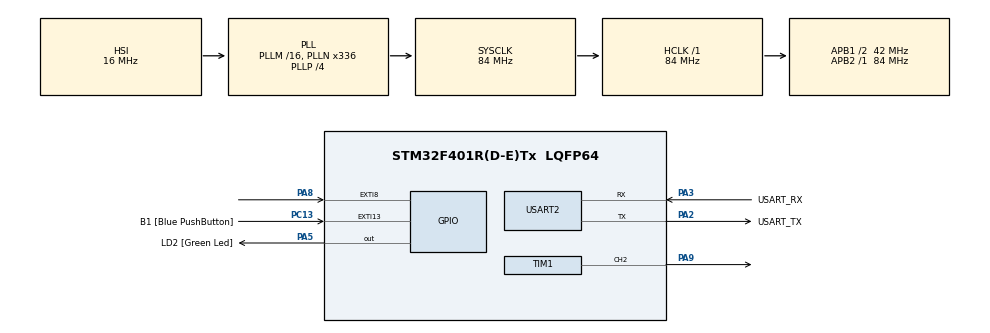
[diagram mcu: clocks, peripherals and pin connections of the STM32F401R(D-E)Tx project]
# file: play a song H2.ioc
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Mcu.Family=STM32F4
Mcu.Name=STM32F401R(D-E)Tx
Mcu.Package=LQFP64
NVIC.EXTI9_5_IRQn=true\:0\:0\:false\:false\:true\:true\:true\:true
NVIC.PriorityGroup=NVIC_PRIORITYGROUP_0
NVIC.TIM2_IRQn=true\:0\:0\:false\:false\:true\:true\:true\:true
PA13.GPIO_Label=TMS
PA13.Mode=Serial_Wire
PA13.Signal=SYS_JTMS-SWDIO
PA14.GPIO_Label=TCK
PA14.Mode=Serial_Wire
PA14.Signal=SYS_JTCK-SWCLK
PA2.GPIO_Label=USART_TX
PA2.GPIO_Mode=GPIO_MODE_AF_PP
PA2.GPIO_PuPd=GPIO_NOPULL
PA2.GPIO_Speed=GPIO_SPEED_FREQ_LOW
PA2.Mode=Asynchronous
PA2.Signal=USART2_TX
PA3.GPIO_Label=USART_RX
PA3.GPIO_Mode=GPIO_MODE_AF_PP
PA3.GPIO_PuPd=GPIO_NOPULL
PA3.GPIO_Speed=GPIO_SPEED_FREQ_LOW
PA3.Mode=Asynchronous
PA3.Signal=USART2_RX
PA5.GPIO_Label=LD2 [Green Led]
PA5.GPIO_Mode=GPIO_MODE_OUTPUT_PP
PA5.GPIO_PuPd=GPIO_NOPULL
PA5.GPIO_Speed=GPIO_SPEED_FREQ_LOW
PA5.Signal=GPIO_Output
PA8.Signal=GPXTI8
PA9.Signal=S_TIM1_CH2
PB3.GPIO_Label=SWO
PB3.Signal=SYS_JTDO-SWO
PC13-ANTI_TAMP.GPIO_Label=B1 [Blue PushButton]
PC13-ANTI_TAMP.GPIO_ModeDefaultEXTI=GPIO_MODE_IT_FALLING
PC13-ANTI_TAMP.GPIO_PuPd=GPIO_NOPULL
PC13-ANTI_TAMP.Signal=GPXTI13
PC14-OSC32_IN.Mode=LSE-External-Oscillator
PC14-OSC32_IN.Signal=RCC_OSC32_IN
PC15-OSC32_OUT.Mode=LSE-External-Oscillator
PC15-OSC32_OUT.Signal=RCC_OSC32_OUT
PH0\ -\ OSC_IN.Mode=HSE-External-Oscillator
PH0\ -\ OSC_IN.Signal=RCC_OSC_IN
PH1\ -\ OSC_OUT.Mode=HSE-External-Oscillator
PH1\ -\ OSC_OUT.Signal=RCC_OSC_OUT
ProjectManager.HeapSize=0x200
ProjectManager.StackSize=0x400
ProjectManager.TargetToolchain=STM32CubeIDE
RCC.48MHZClocksFreq_Value=48000000
RCC.AHBFreq_Value=84000000
RCC.APB1CLKDivider=RCC_HCLK_DIV2
RCC.APB1Freq_Value=42000000
RCC.APB1TimFreq_Value=84000000
RCC.APB2Freq_Value=84000000
RCC.APB2TimFreq_Value=84000000
RCC.CortexFreq_Value=84000000
RCC.HCLKFreq_Value=84000000
RCC.HSE_VALUE=8000000
RCC.HSI_VALUE=16000000
RCC.PLLN=336
RCC.PLLP=RCC_PLLP_DIV4
RCC.PLLQ=7
RCC.SYSCLKFreq_VALUE=84000000
RCC.SYSCLKSource=RCC_SYSCLKSOURCE_PLLCLK
RCC.VCOOutputFreq_Value=336000000
SH.S_TIM1_CH2.0=TIM1_CH2,PWM Generation2 CH2
TIM1.Channel-PWM\ Generation2\ CH2=TIM_CHANNEL_2
TIM1.Prescaler=99
TIM2.AutoReloadPreload=TIM_AUTORELOAD_PRELOAD_ENABLE
TIM2.Period=83999
TIM2.Prescaler=999
USART2.VirtualMode=VM_ASYNC
VP_TIM1_VS_ClockSourceINT.Mode=Internal
VP_TIM2_VS_ClockSourceINT.Mode=Internal
board=NUCLEO-F401RE

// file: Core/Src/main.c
/* USER CODE BEGIN Header */
/**
  ******************************************************************************
  * @file           : main.c
  * @brief          : Main program body
  ******************************************************************************
  * @attention
  *
  * Copyright (c) 2022 STMicroelectronics.
  * All rights reserved.
  *
  * This software is licensed under terms that can be found in the LICENSE file
  * in the root directory of this software component.
  * If no LICENSE file comes with this software, it is provided AS-IS.
  *
  ******************************************************************************
  */
/* USER CODE END Header */
#include "main.h"

TIM_HandleTypeDef htim1;
TIM_HandleTypeDef htim2;

UART_HandleTypeDef huart2;

/* USER CODE BEGIN PV */
struct Note{
	float period;
	float pulse;
};

const struct Note DO = {3206.10687, 1603.053435};
const struct Note DOd = {3032.490975, 1516.245487};
const struct Note RE = {2857.142857, 1428.571429};
const struct Note REd = {2700.96463, 1350.482315};
const struct Note MI = {2545.454545, 1272.727273};
const struct Note FA = {2406.876791, 1203.438395};
const struct Note FAd = {2270.27027, 1135.135135};
const struct Note SOL = {2142.857143, 1071.428571};
const struct Note SOLd = {2024.096386, 1012.048193};
const struct Note LA = {1909.090909, 954.5454545};
const struct Note LAd = {1802.575107, 901.2875536};
const struct Note SI = {1700.404858, 850.2024291};

//a SopngNote represents a single note, with it's height and duration
struct SongNote{
	struct Note height;
	int duration;
};

const int eight = 100;
const int up_eight = 90;
const int down_eight = 10;
/* USER CODE END PV */

void SystemClock_Config(void);
static void MX_GPIO_Init(void);
static void MX_USART2_UART_Init(void);
static void MX_TIM1_Init(void);
static void MX_TIM2_Init(void);

/* USER CODE BEGIN 0 */
void playNote(struct SongNote songNote){
	HAL_TIM_PWM_Stop(&htim1, TIM_CHANNEL_2);
	HAL_TIM_Base_Stop_IT(&htim2);
	//set the note
	__HAL_TIM_SET_AUTORELOAD(&htim1, songNote.height.period);
	__HAL_TIM_SET_COMPARE(&htim1, TIM_CHANNEL_2, songNote.height.pulse);
	//set how long to play the note
	__HAL_TIM_SET_AUTORELOAD(&htim2, songNote.duration*eight);
	//start the note
	HAL_TIM_PWM_Start(&htim1, TIM_CHANNEL_2);
	HAL_TIM_Base_Start_IT(&htim2);
	__HAL_TIM_CLEAR_IT(&htim2, TIM_IT_UPDATE);
}

void HAL_TIM_PeriodElapsedCallback(TIM_HandleTypeDef *htim){
	if (current_note < songLength){
		playNote(song[current_note]);
		current_note++;
	}else{
		HAL_TIM_PWM_Stop(&htim1, TIM_CHANNEL_2);
		HAL_TIM_Base_Stop_IT(&htim2);
		__HAL_TIM_CLEAR_IT(&htim2, TIM_IT_UPDATE);
		current_note = 0;
	}
};
/* USER CODE END 0 */

int main(void)
{

  /* MCU Configuration--------------------------------------------------------*/

  /* Reset of all peripherals, Initializes the Flash interface and the Systick. */
  HAL_Init();

  /* Configure the system clock */
  SystemClock_Config();

  /* Initialize all configured peripherals */
  MX_GPIO_Init();
  MX_USART2_UART_Init();
  MX_TIM1_Init();
  MX_TIM2_Init();
  /* USER CODE BEGIN 2 */
  HAL_TIM_Base_Start_IT(&htim2);
  /* USER CODE END 2 */

  /* Infinite loop */
  while (1)
  {

  }
}

void SystemClock_Config(void)
{
  RCC_OscInitTypeDef RCC_OscInitStruct = {0};
  RCC_ClkInitTypeDef RCC_ClkInitStruct = {0};

  /** Configure the main internal regulator output voltage
  */
  __HAL_RCC_PWR_CLK_ENABLE();
  __HAL_PWR_VOLTAGESCALING_CONFIG(PWR_REGULATOR_VOLTAGE_SCALE2);

  /** Initializes the RCC Oscillators according to the specified parameters
  * in the RCC_OscInitTypeDef structure.
  */
  RCC_OscInitStruct.OscillatorType = RCC_OSCILLATORTYPE_HSI;
  RCC_OscInitStruct.HSIState = RCC_HSI_ON;
  RCC_OscInitStruct.HSICalibrationValue = RCC_HSICALIBRATION_DEFAULT;
  RCC_OscInitStruct.PLL.PLLState = RCC_PLL_ON;
  RCC_OscInitStruct.PLL.PLLSource = RCC_PLLSOURCE_HSI;
  RCC_OscInitStruct.PLL.PLLM = 16;
  RCC_OscInitStruct.PLL.PLLN = 336;
  RCC_OscInitStruct.PLL.PLLP = RCC_PLLP_DIV4;
  RCC_OscInitStruct.PLL.PLLQ = 7;
  if (HAL_RCC_OscConfig(&RCC_OscInitStruct) != HAL_OK)
  {
    Error_Handler();
  }

  /** Initializes the CPU, AHB and APB buses clocks
  */
  RCC_ClkInitStruct.ClockType = RCC_CLOCKTYPE_HCLK|RCC_CLOCKTYPE_SYSCLK
                              |RCC_CLOCKTYPE_PCLK1|RCC_CLOCKTYPE_PCLK2;
  RCC_ClkInitStruct.SYSCLKSource = RCC_SYSCLKSOURCE_PLLCLK;
  RCC_ClkInitStruct.AHBCLKDivider = RCC_SYSCLK_DIV1;
  RCC_ClkInitStruct.APB1CLKDivider = RCC_HCLK_DIV2;
  RCC_ClkInitStruct.APB2CLKDivider = RCC_HCLK_DIV1;

  if (HAL_RCC_ClockConfig(&RCC_ClkInitStruct, FLASH_LATENCY_2) != HAL_OK)
  {
    Error_Handler();
  }
}

static void MX_TIM1_Init(void)
{

  TIM_ClockConfigTypeDef sClockSourceConfig = {0};
  TIM_MasterConfigTypeDef sMasterConfig = {0};
  TIM_OC_InitTypeDef sConfigOC = {0};
  TIM_BreakDeadTimeConfigTypeDef sBreakDeadTimeConfig = {0};

  htim1.Instance = TIM1;
  htim1.Init.Prescaler = 99;
  htim1.Init.CounterMode = TIM_COUNTERMODE_UP;
  htim1.Init.Period = 65535;
  htim1.Init.ClockDivision = TIM_CLOCKDIVISION_DIV1;
  htim1.Init.RepetitionCounter = 0;
  htim1.Init.AutoReloadPreload = TIM_AUTORELOAD_PRELOAD_DISABLE;
  if (HAL_TIM_Base_Init(&htim1) != HAL_OK)
  {
    Error_Handler();
  }
  sClockSourceConfig.ClockSource = TIM_CLOCKSOURCE_INTERNAL;
  if (HAL_TIM_ConfigClockSource(&htim1, &sClockSourceConfig) != HAL_OK)
  {
    Error_Handler();
  }
  if (HAL_TIM_PWM_Init(&htim1) != HAL_OK)
  {
    Error_Handler();
  }
  sMasterConfig.MasterOutputTrigger = TIM_TRGO_RESET;
  sMasterConfig.MasterSlaveMode = TIM_MASTERSLAVEMODE_DISABLE;
  if (HAL_TIMEx_MasterConfigSynchronization(&htim1, &sMasterConfig) != HAL_OK)
  {
    Error_Handler();
  }
  sConfigOC.OCMode = TIM_OCMODE_PWM1;
  sConfigOC.Pulse = 0;
  sConfigOC.OCPolarity = TIM_OCPOLARITY_HIGH;
  sConfigOC.OCNPolarity = TIM_OCNPOLARITY_HIGH;
  sConfigOC.OCFastMode = TIM_OCFAST_DISABLE;
  sConfigOC.OCIdleState = TIM_OCIDLESTATE_RESET;
  sConfigOC.OCNIdleState = TIM_OCNIDLESTATE_RESET;
  if (HAL_TIM_PWM_ConfigChannel(&htim1, &sConfigOC, TIM_CHANNEL_2) != HAL_OK)
  {
    Error_Handler();
  }
  sBreakDeadTimeConfig.OffStateRunMode = TIM_OSSR_DISABLE;
  sBreakDeadTimeConfig.OffStateIDLEMode = TIM_OSSI_DISABLE;
  sBreakDeadTimeConfig.LockLevel = TIM_LOCKLEVEL_OFF;
  sBreakDeadTimeConfig.DeadTime = 0;
  sBreakDeadTimeConfig.BreakState = TIM_BREAK_DISABLE;
  sBreakDeadTimeConfig.BreakPolarity = TIM_BREAKPOLARITY_HIGH;
  sBreakDeadTimeConfig.AutomaticOutput = TIM_AUTOMATICOUTPUT_DISABLE;
  if (HAL_TIMEx_ConfigBreakDeadTime(&htim1, &sBreakDeadTimeConfig) != HAL_OK)
  {
    Error_Handler();
  }
  HAL_TIM_MspPostInit(&htim1);

}

static void MX_TIM2_Init(void)
{

  TIM_ClockConfigTypeDef sClockSourceConfig = {0};
  TIM_MasterConfigTypeDef sMasterConfig = {0};

  htim2.Instance = TIM2;
  htim2.Init.Prescaler = 999;
  htim2.Init.CounterMode = TIM_COUNTERMODE_UP;
  htim2.Init.Period = 83999;
  htim2.Init.ClockDivision = TIM_CLOCKDIVISION_DIV1;
  htim2.Init.AutoReloadPreload = TIM_AUTORELOAD_PRELOAD_ENABLE;
  if (HAL_TIM_Base_Init(&htim2) != HAL_OK)
  {
    Error_Handler();
  }
  sClockSourceConfig.ClockSource = TIM_CLOCKSOURCE_INTERNAL;
  if (HAL_TIM_ConfigClockSource(&htim2, &sClockSourceConfig) != HAL_OK)
  {
    Error_Handler();
  }
  sMasterConfig.MasterOutputTrigger = TIM_TRGO_RESET;
  sMasterConfig.MasterSlaveMode = TIM_MASTERSLAVEMODE_DISABLE;
  if (HAL_TIMEx_MasterConfigSynchronization(&htim2, &sMasterConfig) != HAL_OK)
  {
    Error_Handler();
  }

}

static void MX_USART2_UART_Init(void)
{

  huart2.Instance = USART2;
  huart2.Init.BaudRate = 115200;
  huart2.Init.WordLength = UART_WORDLENGTH_8B;
  huart2.Init.StopBits = UART_STOPBITS_1;
  huart2.Init.Parity = UART_PARITY_NONE;
  huart2.Init.Mode = UART_MODE_TX_RX;
  huart2.Init.HwFlowCtl = UART_HWCONTROL_NONE;
  huart2.Init.OverSampling = UART_OVERSAMPLING_16;
  if (HAL_UART_Init(&huart2) != HAL_OK)
  {
    Error_Handler();
  }

}

static void MX_GPIO_Init(void)
{
  GPIO_InitTypeDef GPIO_InitStruct = {0};

  /* GPIO Ports Clock Enable */
  __HAL_RCC_GPIOC_CLK_ENABLE();
  __HAL_RCC_GPIOH_CLK_ENABLE();
  __HAL_RCC_GPIOA_CLK_ENABLE();
  __HAL_RCC_GPIOB_CLK_ENABLE();

  /*Configure GPIO pin Output Level */
  HAL_GPIO_WritePin(LD2_GPIO_Port, LD2_Pin, GPIO_PIN_RESET);

  /*Configure GPIO pin : B1_Pin */
  GPIO_InitStruct.Pin = B1_Pin;
  GPIO_InitStruct.Mode = GPIO_MODE_IT_FALLING;
  GPIO_InitStruct.Pull = GPIO_NOPULL;
  HAL_GPIO_Init(B1_GPIO_Port, &GPIO_InitStruct);

  /*Configure GPIO pin : LD2_Pin */
  GPIO_InitStruct.Pin = LD2_Pin;
  GPIO_InitStruct.Mode = GPIO_MODE_OUTPUT_PP;
  GPIO_InitStruct.Pull = GPIO_NOPULL;
  GPIO_InitStruct.Speed = GPIO_SPEED_FREQ_LOW;
  HAL_GPIO_Init(LD2_GPIO_Port, &GPIO_InitStruct);

  /*Configure GPIO pin : PA8 */
  GPIO_InitStruct.Pin = GPIO_PIN_8;
  GPIO_InitStruct.Mode = GPIO_MODE_IT_RISING;
  GPIO_InitStruct.Pull = GPIO_NOPULL;
  HAL_GPIO_Init(GPIOA, &GPIO_InitStruct);

  /* EXTI interrupt init*/
  HAL_NVIC_SetPriority(EXTI9_5_IRQn, 0, 0);
  HAL_NVIC_EnableIRQ(EXTI9_5_IRQn);

}

void Error_Handler(void)
{
  __disable_irq();
  while (1)
  {
  }
}
